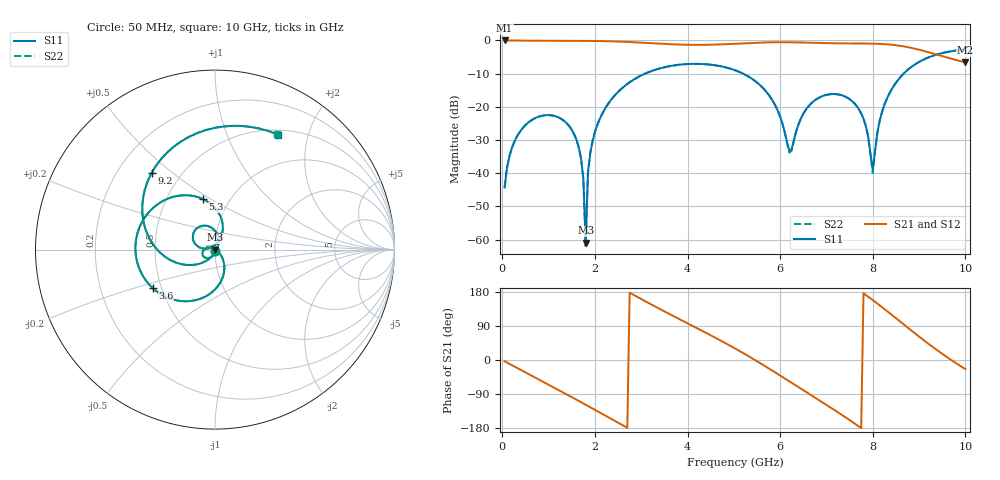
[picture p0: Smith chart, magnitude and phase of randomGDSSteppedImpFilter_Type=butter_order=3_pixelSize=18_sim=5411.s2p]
! freq	dB(S11)	phase(S11)	dB(S12)	phase(S12)
!  dB(S21)	phase(S21)	dB(S22)	phase(S22)
!S-par simulation data
#  GHz  S  DB  R 50
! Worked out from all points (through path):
!   200 points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, 50 MHz to 10 GHz, reference 50 ohm
!   highest |S21| = -0.01 dB at 50 MHz (marker M1); lowest = -6.6 dB at 10 GHz (marker M2)
!   group delay of S21, straight-line fit = 204 ps
!   lowest |S11| = -60.9 dB at 1.8 GHz (marker M3), VSWR 1.00, Z = 50 - j0.09 ohm
!   |S11| at or under -10 dB: start of sweep to 3.084 GHz; 5.199 GHz to 8.668 GHz (3.469 GHz wide, 50 % of centre)
!   |S22| runs from -62.0 to -2.7 dB; largest |S21 - S12| = 0
!   S11 on the Smith chart (normalised r, x): 50 MHz: 1.00, -0.01; 3.6 GHz: 0.45, -0.23; 5.3 GHz: 0.75, +0.46; 9.2 GHz: 0.34, +0.42; 10 GHz: 0.56, +1.54
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0.05  -44.31 -89.5  -0.01 -3.3  -0.01 -3.3  -44.31 -89.5
0.3  -29.38 -109.2  -0.04 -19.7  -0.04 -19.7  -29.38 -109.2
0.9  -22.59 -149.3  -0.10 -58.7  -0.10 -58.7  -22.59 -149.3
1.5  -26.93 171.5  -0.13 -98.0  -0.13 -98.0  -26.94 171.3
1.75  -41.63 156.8  -0.14 -114.6  -0.14 -114.6  -41.64 155.8
1.8  -60.92 -90.0  -0.14 -118.0  -0.14 -118.0  -62.00 -76.3
1.85  -39.82 -34.1  -0.14 -121.3  -0.14 -121.3  -39.81 -33.3
2.1  -23.79 -49.4  -0.18 -138.2  -0.18 -138.2  -23.79 -49.3
3.4  -8.44 -135.6  -0.98 134.7  -0.98 134.7  -8.44 -135.6
3.6  -7.79 -148.3  -1.12 122.0  -1.12 122.0  -7.79 -148.2
5.05  -9.10 120.4  -0.99 28.9  -0.99 28.9  -9.10 120.3
5.3  -10.75 103.6  -0.82 11.3  -0.82 11.3  -10.75 103.5
5.85  -18.45 68.8  -0.55 -29.5  -0.55 -29.5  -18.46 68.3
6.2  -33.29 109.1  -0.55 -56.4  -0.55 -56.4  -33.83 108.3
6.7  -18.59 162.8  -0.71 -95.2  -0.71 -95.2  -18.61 163.6
7.65  -19.72 88.9  -0.91 -171.1  -0.91 -171.1  -19.75 89.8
7.85  -25.77 66.5  -0.93 171.6  -0.93 171.6  -25.85 68.1
8  -39.10 -27.5  -0.97 158.1  -0.97 158.1  -39.99 -27.8
8.15  -24.16 -121.9  -1.04 144.2  -1.04 144.2  -24.16 -122.9
8.35  -16.22 -146.1  -1.22 125.1  -1.22 125.1  -16.21 -146.4
9.2  -5.13 129.6  -3.54 42.9  -3.54 42.9  -5.13 129.8
10  -2.73 61.3  -6.60 -24.1  -6.60 -24.1  -2.73 61.7
